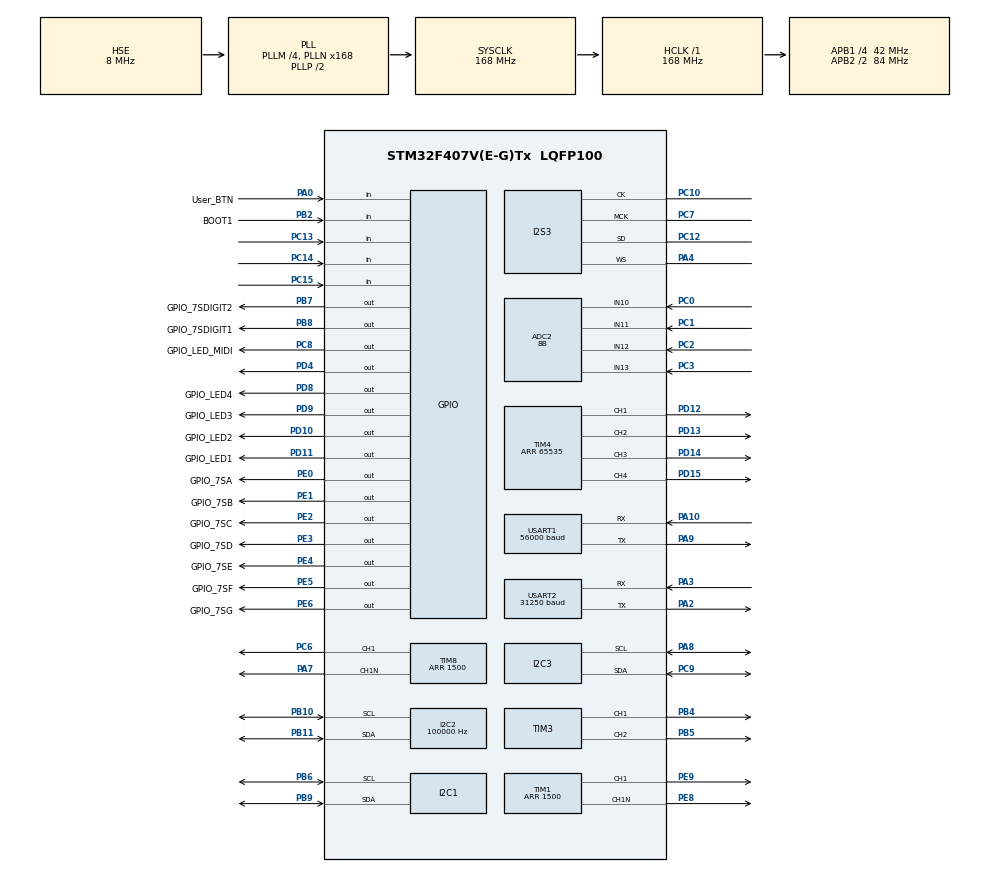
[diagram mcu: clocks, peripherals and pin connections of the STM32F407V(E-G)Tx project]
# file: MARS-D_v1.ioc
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ADC2.Channel-43\#ChannelRegularConversion=ADC_CHANNEL_10
ADC2.Channel-44\#ChannelInjectedConversion=ADC_CHANNEL_10
ADC2.Channel-45\#ChannelInjectedConversion=ADC_CHANNEL_11
ADC2.Channel-46\#ChannelInjectedConversion=ADC_CHANNEL_12
ADC2.Channel-47\#ChannelInjectedConversion=ADC_CHANNEL_13
ADC2.Channel-48\#ChannelRegularConversion=ADC_CHANNEL_11
ADC2.Channel-49\#ChannelRegularConversion=ADC_CHANNEL_12
ADC2.Channel-50\#ChannelRegularConversion=ADC_CHANNEL_13
ADC2.ClockPrescaler=ADC_CLOCK_SYNC_PCLK_DIV8
ADC2.ContinuousConvMode=ENABLE
ADC2.DMAContinuousRequests=DISABLE
ADC2.DataAlign=ADC_DATAALIGN_RIGHT
ADC2.DiscontinuousConvMode=DISABLE
ADC2.EOCSelection=ADC_EOC_SINGLE_CONV
ADC2.EnableAnalogWatchDog=false
ADC2.ExternalTrigConv=ADC_SOFTWARE_START
ADC2.ExternalTrigConvEdge=ADC_EXTERNALTRIGCONVEDGE_NONE
ADC2.ExternalTrigInjecConv=ADC_INJECTED_SOFTWARE_START
ADC2.ExternalTrigInjecConvEdge=ADC_EXTERNALTRIGINJECCONVEDGE_NONE
ADC2.InjNumberOfConversion=4
ADC2.InjectedConvMode=None
ADC2.InjectedOffset-44\#ChannelInjectedConversion=0
ADC2.InjectedOffset-45\#ChannelInjectedConversion=0
ADC2.InjectedOffset-46\#ChannelInjectedConversion=0
ADC2.InjectedOffset-47\#ChannelInjectedConversion=0
ADC2.NbrOfConversion=4
ADC2.NbrOfConversionFlag=1
ADC2.Rank-43\#ChannelRegularConversion=1
ADC2.Rank-44\#ChannelInjectedConversion=1
ADC2.Rank-45\#ChannelInjectedConversion=2
ADC2.Rank-46\#ChannelInjectedConversion=3
ADC2.Rank-47\#ChannelInjectedConversion=4
ADC2.Rank-48\#ChannelRegularConversion=2
ADC2.Rank-49\#ChannelRegularConversion=3
ADC2.Rank-50\#ChannelRegularConversion=4
ADC2.Resolution=ADC_RESOLUTION_8B
ADC2.SamplingTime-43\#ChannelRegularConversion=ADC_SAMPLETIME_480CYCLES
ADC2.SamplingTime-44\#ChannelInjectedConversion=ADC_SAMPLETIME_480CYCLES
ADC2.SamplingTime-45\#ChannelInjectedConversion=ADC_SAMPLETIME_480CYCLES
ADC2.SamplingTime-46\#ChannelInjectedConversion=ADC_SAMPLETIME_480CYCLES
ADC2.SamplingTime-47\#ChannelInjectedConversion=ADC_SAMPLETIME_480CYCLES
ADC2.SamplingTime-48\#ChannelRegularConversion=ADC_SAMPLETIME_480CYCLES
ADC2.SamplingTime-49\#ChannelRegularConversion=ADC_SAMPLETIME_480CYCLES
ADC2.SamplingTime-50\#ChannelRegularConversion=ADC_SAMPLETIME_480CYCLES
ADC2.ScanConvMode=ENABLE
Dma.Request0=USART2_RX
Dma.Request1=USART2_TX
Dma.Request2=SPI3_TX
Dma.Request3=USART1_RX
Dma.Request4=USART1_TX
Dma.SPI3_TX.2.Direction=DMA_MEMORY_TO_PERIPH
Dma.SPI3_TX.2.FIFOMode=DMA_FIFOMODE_ENABLE
Dma.SPI3_TX.2.FIFOThreshold=DMA_FIFO_THRESHOLD_FULL
Dma.SPI3_TX.2.Instance=DMA1_Stream7
Dma.SPI3_TX.2.MemBurst=DMA_MBURST_INC8
Dma.SPI3_TX.2.MemDataAlignment=DMA_MDATAALIGN_HALFWORD
Dma.SPI3_TX.2.MemInc=DMA_MINC_ENABLE
Dma.SPI3_TX.2.Mode=DMA_CIRCULAR
Dma.SPI3_TX.2.PeriphBurst=DMA_PBURST_SINGLE
Dma.SPI3_TX.2.PeriphDataAlignment=DMA_PDATAALIGN_HALFWORD
Dma.SPI3_TX.2.PeriphInc=DMA_PINC_DISABLE
Dma.SPI3_TX.2.Priority=DMA_PRIORITY_HIGH
Dma.USART1_RX.3.Direction=DMA_PERIPH_TO_MEMORY
Dma.USART1_RX.3.FIFOMode=DMA_FIFOMODE_DISABLE
Dma.USART1_RX.3.Instance=DMA2_Stream2
Dma.USART1_RX.3.MemDataAlignment=DMA_MDATAALIGN_BYTE
Dma.USART1_RX.3.MemInc=DMA_MINC_ENABLE
Dma.USART1_RX.3.Mode=DMA_CIRCULAR
Dma.USART1_RX.3.PeriphDataAlignment=DMA_PDATAALIGN_BYTE
Dma.USART1_RX.3.PeriphInc=DMA_PINC_DISABLE
Dma.USART1_RX.3.Priority=DMA_PRIORITY_MEDIUM
Dma.USART1_TX.4.Direction=DMA_MEMORY_TO_PERIPH
Dma.USART1_TX.4.FIFOMode=DMA_FIFOMODE_DISABLE
Dma.USART1_TX.4.Instance=DMA2_Stream7
Dma.USART1_TX.4.MemDataAlignment=DMA_MDATAALIGN_BYTE
Dma.USART1_TX.4.MemInc=DMA_MINC_ENABLE
Dma.USART1_TX.4.Mode=DMA_NORMAL
Dma.USART1_TX.4.PeriphDataAlignment=DMA_PDATAALIGN_BYTE
Dma.USART1_TX.4.PeriphInc=DMA_PINC_DISABLE
Dma.USART1_TX.4.Priority=DMA_PRIORITY_MEDIUM
Dma.USART2_RX.0.Direction=DMA_PERIPH_TO_MEMORY
Dma.USART2_RX.0.FIFOMode=DMA_FIFOMODE_DISABLE
Dma.USART2_RX.0.Instance=DMA1_Stream5
Dma.USART2_RX.0.MemDataAlignment=DMA_MDATAALIGN_BYTE
Dma.USART2_RX.0.MemInc=DMA_MINC_ENABLE
Dma.USART2_RX.0.Mode=DMA_CIRCULAR
Dma.USART2_RX.0.PeriphDataAlignment=DMA_PDATAALIGN_BYTE
Dma.USART2_RX.0.PeriphInc=DMA_PINC_DISABLE
Dma.USART2_RX.0.Priority=DMA_PRIORITY_MEDIUM
Dma.USART2_TX.1.Direction=DMA_MEMORY_TO_PERIPH
Dma.USART2_TX.1.FIFOMode=DMA_FIFOMODE_DISABLE
Dma.USART2_TX.1.Instance=DMA1_Stream6
Dma.USART2_TX.1.MemDataAlignment=DMA_MDATAALIGN_BYTE
Dma.USART2_TX.1.MemInc=DMA_MINC_ENABLE
Dma.USART2_TX.1.Mode=DMA_NORMAL
Dma.USART2_TX.1.PeriphDataAlignment=DMA_PDATAALIGN_BYTE
Dma.USART2_TX.1.PeriphInc=DMA_PINC_DISABLE
Dma.USART2_TX.1.Priority=DMA_PRIORITY_MEDIUM
I2C2.ClockSpeed=100000
I2C2.I2C_Mode=I2C_Standard
I2C3.I2C_Mode=I2C_Fast
I2S3.AudioFreq=I2S_AUDIOFREQ_96K
I2S3.ErrorAudioFreq=-0.01 %
I2S3.RealAudioFreq=95.982 KHz
Mcu.Family=STM32F4
Mcu.Name=STM32F407V(E-G)Tx
Mcu.Package=LQFP100
NVIC.DMA1_Stream5_IRQn=true\:3\:0\:true\:false\:true
NVIC.DMA1_Stream6_IRQn=true\:5\:0\:true\:false\:true
NVIC.DMA1_Stream7_IRQn=true\:1\:0\:true\:false\:true
NVIC.DMA2_Stream2_IRQn=true\:4\:0\:true\:false\:true
NVIC.DMA2_Stream7_IRQn=true\:6\:0\:true\:false\:true
NVIC.I2C2_EV_IRQn=true\:0\:0\:false\:false\:true
NVIC.PriorityGroup=NVIC_PRIORITYGROUP_4
PA0-WKUP.GPIO_Label=User_BTN
PA0-WKUP.Signal=GPIO_Input
PA1.GPIO_PuPd=GPIO_PULLUP
PA1.Signal=S_TIM5_CH2
PA10.Mode=Asynchronous
PA10.Signal=USART1_RX
PA11.Signal=USB_OTG_FS_DM
PA12.Signal=USB_OTG_FS_DP
PA13.Mode=Serial_Wire
PA13.Signal=SYS_JTMS-SWDIO
PA14.Mode=Serial_Wire
PA14.Signal=SYS_JTCK-SWCLK
PA2.Mode=Asynchronous
PA2.Signal=USART2_TX
PA3.Mode=Asynchronous
PA3.Signal=USART2_RX
PA4.GPIO_Speed=GPIO_SPEED_FREQ_VERY_HIGH
PA4.Mode=Half_Duplex_Master
PA4.Signal=I2S3_WS
PA5.Signal=COMP_DAC2_group
PA7.GPIO_Speed=GPIO_SPEED_FREQ_VERY_HIGH
PA7.Mode=PWM Generation1 CH1 CH1N
PA7.Signal=TIM8_CH1N
PA8.Mode=I2C
PA8.Signal=I2C3_SCL
PA9.Mode=Asynchronous
PA9.Signal=USART1_TX
PB0.Signal=S_TIM3_CH3
PB1.Signal=S_TIM3_CH4
PB10.Mode=I2C
PB10.Signal=I2C2_SCL
PB11.Mode=I2C
PB11.Signal=I2C2_SDA
PB13.Signal=SPI2_SCK
PB14.Signal=SPI2_MISO
PB15.Signal=SPI2_MOSI
PB2.GPIO_Label=BOOT1
PB2.Signal=GPIO_Input
PB4.GPIO_Speed=GPIO_SPEED_FREQ_LOW
PB4.Signal=S_TIM3_CH1
PB5.GPIO_Speed=GPIO_SPEED_FREQ_LOW
PB5.Signal=S_TIM3_CH2
PB6.Mode=I2C
PB6.Signal=I2C1_SCL
PB7.GPIO_Label=GPIO_7SDIGIT2
PB7.GPIO_Speed=GPIO_SPEED_FREQ_MEDIUM
PB7.PinState=GPIO_PIN_RESET
PB7.Signal=GPIO_Output
PB8.GPIO_Label=GPIO_7SDIGIT1
PB8.GPIO_Speed=GPIO_SPEED_FREQ_MEDIUM
PB8.PinState=GPIO_PIN_RESET
PB8.Signal=GPIO_Output
PB9.Mode=I2C
PB9.Signal=I2C1_SDA
PC0.Signal=ADCx_IN10
PC1.Signal=ADCx_IN11
PC10.GPIO_Speed=GPIO_SPEED_FREQ_VERY_HIGH
PC10.Mode=Half_Duplex_Master
PC10.Signal=I2S3_CK
PC12.GPIO_Speed=GPIO_SPEED_FREQ_VERY_HIGH
PC12.Mode=Half_Duplex_Master
PC12.Signal=I2S3_SD
PC13-ANTI_TAMP.GPIO_PuPd=GPIO_PULLUP
PC13-ANTI_TAMP.Signal=GPIO_Input
PC14-OSC32_IN.GPIO_PuPd=GPIO_PULLUP
PC14-OSC32_IN.Signal=GPIO_Input
PC15-OSC32_OUT.GPIO_PuPd=GPIO_PULLUP
PC15-OSC32_OUT.Signal=GPIO_Input
PC2.Signal=ADCx_IN12
PC3.Signal=ADCx_IN13
PC6.GPIO_Speed=GPIO_SPEED_FREQ_VERY_HIGH
PC6.Signal=S_TIM8_CH1
PC7.GPIO_Speed=GPIO_SPEED_FREQ_VERY_HIGH
PC7.Mode=Master_Clock_Activated
PC7.Signal=I2S3_MCK
PC8.GPIO_Label=GPIO_LED_MIDI
PC8.Signal=GPIO_Output
PC9.Mode=I2C
PC9.Signal=I2C3_SDA
PD10.GPIO_Label=GPIO_LED2
PD10.Signal=GPIO_Output
PD11.GPIO_Label=GPIO_LED1
PD11.Signal=GPIO_Output
PD12.GPIO_Speed=GPIO_SPEED_FREQ_HIGH
PD12.Signal=S_TIM4_CH1
PD13.GPIO_Speed=GPIO_SPEED_FREQ_HIGH
PD13.Signal=S_TIM4_CH2
PD14.GPIO_Speed=GPIO_SPEED_FREQ_HIGH
PD14.Signal=S_TIM4_CH3
PD15.GPIO_Speed=GPIO_SPEED_FREQ_HIGH
PD15.Signal=S_TIM4_CH4
PD4.GPIO_Speed=GPIO_SPEED_FREQ_MEDIUM
PD4.Signal=GPIO_Output
PD8.GPIO_Label=GPIO_LED4
PD8.Signal=GPIO_Output
PD9.GPIO_Label=GPIO_LED3
PD9.Signal=GPIO_Output
PE0.GPIO_Label=GPIO_7SA
PE0.GPIO_Speed=GPIO_SPEED_FREQ_MEDIUM
PE0.PinState=GPIO_PIN_RESET
PE0.Signal=GPIO_Output
PE1.GPIO_Label=GPIO_7SB
PE1.GPIO_Speed=GPIO_SPEED_FREQ_MEDIUM
PE1.PinState=GPIO_PIN_RESET
PE1.Signal=GPIO_Output
PE2.GPIO_Label=GPIO_7SC
PE2.GPIO_Speed=GPIO_SPEED_FREQ_MEDIUM
PE2.PinState=GPIO_PIN_RESET
PE2.Signal=GPIO_Output
PE3.GPIO_Label=GPIO_7SD
PE3.GPIO_Speed=GPIO_SPEED_FREQ_MEDIUM
PE3.PinState=GPIO_PIN_RESET
PE3.Signal=GPIO_Output
PE4.GPIO_Label=GPIO_7SE
PE4.GPIO_Speed=GPIO_SPEED_FREQ_MEDIUM
PE4.PinState=GPIO_PIN_RESET
PE4.Signal=GPIO_Output
PE5.GPIO_Label=GPIO_7SF
PE5.GPIO_Speed=GPIO_SPEED_FREQ_MEDIUM
PE5.PinState=GPIO_PIN_RESET
PE5.Signal=GPIO_Output
PE6.GPIO_Label=GPIO_7SG
PE6.GPIO_Speed=GPIO_SPEED_FREQ_MEDIUM
PE6.PinState=GPIO_PIN_RESET
PE6.Signal=GPIO_Output
PE8.GPIO_Speed=GPIO_SPEED_FREQ_VERY_HIGH
PE8.Mode=PWM Generation1 CH1 CH1N
PE8.Signal=TIM1_CH1N
PE9.GPIO_Speed=GPIO_SPEED_FREQ_VERY_HIGH
PE9.Signal=S_TIM1_CH1
PH0-OSC_IN.Mode=HSE-External-Oscillator
PH0-OSC_IN.Signal=RCC_OSC_IN
PH1-OSC_OUT.Mode=HSE-External-Oscillator
PH1-OSC_OUT.Signal=RCC_OSC_OUT
ProjectManager.HeapSize=0x200
ProjectManager.StackSize=0x400
ProjectManager.TargetToolchain=EWARM
RCC.48MHZClocksFreq_Value=48000000
RCC.AHBFreq_Value=168000000
RCC.APB1CLKDivider=RCC_HCLK_DIV4
RCC.APB1Freq_Value=42000000
RCC.APB1TimFreq_Value=84000000
RCC.APB2CLKDivider=RCC_HCLK_DIV2
RCC.APB2Freq_Value=84000000
RCC.APB2TimFreq_Value=168000000
RCC.CortexFreq_Value=168000000
RCC.HCLKFreq_Value=168000000
RCC.HSE_VALUE=8000000
RCC.HSI_VALUE=16000000
RCC.LSE_VALUE=32768
RCC.PLLI2SN=172
RCC.PLLM=4
RCC.PLLN=168
RCC.PLLQ=7
RCC.PLLSourceVirtual=RCC_PLLSOURCE_HSE
RCC.SYSCLKFreq_VALUE=168000000
RCC.SYSCLKSource=RCC_SYSCLKSOURCE_PLLCLK
RCC.VCOOutputFreq_Value=336000000
SH.ADCx_IN10.0=ADC2_IN10,IN10
SH.ADCx_IN11.0=ADC2_IN11,IN11
SH.ADCx_IN12.0=ADC2_IN12,IN12
SH.ADCx_IN13.0=ADC2_IN13,IN13
SH.COMP_DAC2_group.0=DAC_OUT2
SH.S_TIM1_CH1.0=TIM1_CH1,PWM Generation1 CH1 CH1N
SH.S_TIM3_CH1.0=TIM3_CH1,PWM Generation1 CH1
SH.S_TIM3_CH2.0=TIM3_CH2,PWM Generation2 CH2
SH.S_TIM3_CH3.0=TIM3_CH3
SH.S_TIM3_CH4.0=TIM3_CH4
SH.S_TIM4_CH1.0=TIM4_CH1,PWM Generation1 CH1
SH.S_TIM4_CH2.0=TIM4_CH2,PWM Generation2 CH2
SH.S_TIM4_CH3.0=TIM4_CH3,PWM Generation3 CH3
SH.S_TIM4_CH4.0=TIM4_CH4,PWM Generation4 CH4
SH.S_TIM5_CH2.0=TIM5_CH2
SH.S_TIM8_CH1.0=TIM8_CH1,PWM Generation1 CH1 CH1N
TIM1.AutomaticOutput=TIM_AUTOMATICOUTPUT_ENABLE
TIM1.BreakState=TIM_BREAK_ENABLE
TIM1.CounterMode=TIM_COUNTERMODE_UP
TIM1.DeadTime=16
TIM1.OCNPolarity_1=TIM_OCNPOLARITY_LOW
TIM1.OCPolarity_1=TIM_OCPOLARITY_LOW
TIM1.OffStateRunMode=TIM_OSSR_DISABLE
TIM1.Period=1500
TIM14.Period=65535
TIM14.Prescaler=83
TIM3.Channel-PWM\ Generation2\ CH2=TIM_CHANNEL_2
TIM4.Channel-PWM\ Generation2\ CH2=TIM_CHANNEL_2
TIM4.Channel-PWM\ Generation3\ CH3=TIM_CHANNEL_3
TIM4.Channel-PWM\ Generation4\ CH4=TIM_CHANNEL_4
TIM4.Period=65535
TIM8.AutomaticOutput=TIM_AUTOMATICOUTPUT_ENABLE
TIM8.BreakState=TIM_BREAK_ENABLE
TIM8.CounterMode=TIM_COUNTERMODE_UP
TIM8.DeadTime=16
TIM8.OCNPolarity_1=TIM_OCNPOLARITY_LOW
TIM8.OCPolarity_1=TIM_OCPOLARITY_LOW
TIM8.Period=1500
USART1.BaudRate=56000
USART2.BaudRate=31250
VP_RNG_VS_RNG.Mode=RNG_Activate
VP_TIM14_VS_ClockSourceINT.Mode=Enable_Timer
board=MARS-D_v1

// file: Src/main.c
/**
  ******************************************************************************
  * File Name          : main.c
  * Description        : Main program body
  ******************************************************************************
  *
  * COPYRIGHT(c) 2018 STMicroelectronics
  *
  * Redistribution and use in source and binary forms, with or without modification,
  * are permitted provided that the following conditions are met:
  *   1. Redistributions of source code must retain the above copyright notice,
  *      this list of conditions and the following disclaimer.
  *   2. Redistributions in binary form must reproduce the above copyright notice,
  *      this list of conditions and the following disclaimer in the documentation
  *      and/or other materials provided with the distribution.
  *   3. Neither the name of STMicroelectronics nor the names of its contributors
  *      may be used to endorse or promote products derived from this software
  *      without specific prior written permission.
  *
  * THIS SOFTWARE IS PROVIDED BY THE COPYRIGHT HOLDERS AND CONTRIBUTORS "AS IS"
  * AND ANY EXPRESS OR IMPLIED WARRANTIES, INCLUDING, BUT NOT LIMITED TO, THE
  * IMPLIED WARRANTIES OF MERCHANTABILITY AND FITNESS FOR A PARTICULAR PURPOSE ARE
  * DISCLAIMED. IN NO EVENT SHALL THE COPYRIGHT HOLDER OR CONTRIBUTORS BE LIABLE
  * FOR ANY DIRECT, INDIRECT, INCIDENTAL, SPECIAL, EXEMPLARY, OR CONSEQUENTIAL
  * DAMAGES (INCLUDING, BUT NOT LIMITED TO, PROCUREMENT OF SUBSTITUTE GOODS OR
  * SERVICES; LOSS OF USE, DATA, OR PROFITS; OR BUSINESS INTERRUPTION) HOWEVER
  * CAUSED AND ON ANY THEORY OF LIABILITY, WHETHER IN CONTRACT, STRICT LIABILITY,
  * OR TORT (INCLUDING NEGLIGENCE OR OTHERWISE) ARISING IN ANY WAY OUT OF THE USE
  * OF THIS SOFTWARE, EVEN IF ADVISED OF THE POSSIBILITY OF SUCH DAMAGE.
  *
  ******************************************************************************
  */
#include "main.h"
#include "stm32f4xx_hal.h"

/* USER CODE BEGIN Includes */

#include "usb_device.h"
#include "usbd_midi.h"
#include "usbd_midi_if.h"

#include "CS43L22.h"
#include "display.h"
//#include "menu.h"
#include "midi.h"
#include "dco.h"
#include "engine.h"
#include "presetmngr.h"

#define I2S3    SPI3

#define MIDIBUFSIZE 2048 //must be power of 2
#define MIDIBUFMASK (MIDIBUFSIZE - 1)

#define INDICATE_PERIOD 10

/* USER CODE END Includes */

ADC_HandleTypeDef hadc2;

I2C_HandleTypeDef hi2c1;
I2C_HandleTypeDef hi2c2;
I2C_HandleTypeDef hi2c3;

I2S_HandleTypeDef hi2s3;
DMA_HandleTypeDef hdma_spi3_tx;

RNG_HandleTypeDef hrng;

TIM_HandleTypeDef htim1;
TIM_HandleTypeDef htim3;
TIM_HandleTypeDef htim4;
TIM_HandleTypeDef htim8;
TIM_HandleTypeDef htim14;

UART_HandleTypeDef huart1;
UART_HandleTypeDef huart2;
DMA_HandleTypeDef hdma_usart1_rx;
DMA_HandleTypeDef hdma_usart1_tx;
DMA_HandleTypeDef hdma_usart2_rx;
DMA_HandleTypeDef hdma_usart2_tx;

/* USER CODE BEGIN PV */
/* Private variables ---------------------------------------------------------*/

  struct
  {
    uint16_t curidx;
    uint16_t rdidx;
    uint8_t buf[MIDIBUFSIZE];
  } midibuf;

  tMidiStore midiuart, midiusb1, midiusb2;

  //uint8_t oldgate = 0;
  //uint8_t i = 0;

  uint16_t tick;
  uint32_t newtick;
  uint32_t lasttick = 0;

  uint8_t btnstate = 0;
  uint8_t newbtnstate = 0;

  //volatile uint8_t adcdata[4];
  //uint8_t msg[2];

/* USER CODE END PV */

void SystemClock_Config(void);
void Error_Handler(void);
static void MX_GPIO_Init(void);
static void MX_DMA_Init(void);
static void MX_I2C1_Init(void);
static void MX_I2S3_Init(void);
static void MX_USART2_UART_Init(void);
static void MX_RNG_Init(void);
static void MX_I2C3_Init(void);
static void MX_TIM14_Init(void);
static void MX_TIM1_Init(void);
static void MX_TIM3_Init(void);
static void MX_TIM8_Init(void);
static void MX_TIM4_Init(void);
static void MX_USART1_UART_Init(void);
static void MX_ADC2_Init(void);
static void MX_I2C2_Init(void);

void HAL_TIM_MspPostInit(TIM_HandleTypeDef *htim);

/* USER CODE BEGIN PFP */
/* Private function prototypes -----------------------------------------------*/

/* USER CODE END PFP */

int main(void)
{

  /* MCU Configuration----------------------------------------------------------*/

  /* Reset of all peripherals, Initializes the Flash interface and the Systick. */
  HAL_Init();

  /* Configure the system clock */
  SystemClock_Config();

  /* Initialize all configured peripherals */
  MX_GPIO_Init();
  MX_DMA_Init();
  MX_I2C1_Init();
  MX_I2S3_Init();
  MX_USART2_UART_Init();
  MX_RNG_Init();
  MX_I2C3_Init();
  MX_TIM14_Init();
  MX_TIM1_Init();
  MX_TIM3_Init();
  MX_TIM8_Init();
  MX_TIM4_Init();
  MX_USART1_UART_Init();
  MX_ADC2_Init();
  MX_I2C2_Init();

  /* USER CODE BEGIN 2 */

  MX_USB_DEVICE_Init();

  // разрешаем прерываниe USART Data Register not empty Interrupts
  //SET_BIT((&huart2)->Instance->CR1, USART_CR1_RXNEIE);

  //указываем DMA откуда загружать данный в ЦАП по аудио шине I2S
  HAL_I2S_Transmit_DMA(&hi2s3, (uint16_t*)&aubuf[0], AUBUFSIZE);

  //выключаем прерывания DMA UART, хз как заставить тупой куб не включать их по умолчанию
  HAL_NVIC_DisableIRQ(DMA1_Stream5_IRQn); //UART 2 RX (DMA1_Stream6 TX)
  HAL_NVIC_DisableIRQ(DMA2_Stream2_IRQn); //UART 1 RX (DMA2_Stream7 TX)
  //назначить UART2 кольцевой буффер
  HAL_UART_Receive_DMA(&huart2, (uint8_t *)&midibuf.buf[0], MIDIBUFSIZE);

  //запускаймер таймер для синхронизации миди клока (1мгц)
  HAL_TIM_Base_Start(&htim14);
  midi_Sync_Init(&htim14);

  //запускаем ШИМ светодиодов индикации модуляторов
  //HAL_TIM_PWM_Start(&htim4, TIM_CHANNEL_ALL);
  HAL_TIM_PWM_Start(&htim4, TIM_CHANNEL_1);
  HAL_TIM_PWM_Start(&htim4, TIM_CHANNEL_2);
  HAL_TIM_PWM_Start(&htim4, TIM_CHANNEL_3);
  HAL_TIM_PWM_Start(&htim4, TIM_CHANNEL_4);

  //HAL_TIM_PWM_Start(&htim1, TIM_CHANNEL_1);
  //HAL_TIMEx_PWMN_Start(&htim1, TIM_CHANNEL_1);
  //HAL_TIM_PWM_Start(&htim8, TIM_CHANNEL_1);
  //HAL_TIMEx_PWMN_Start(&htim8, TIM_CHANNEL_1);
  //TIM1->CR1 |= TIM_CR1_ARPE;
  //TIM8->CR1 |= TIM_CR1_ARPE;

  //запускаем энкодер
  //HAL_TIM_Encoder_Start(&htim5, TIM_CHANNEL_1);

  //запускаем ЦАП для управоения срезом аналоговых фильтров по CV
  //HAL_DAC_Start(&hdac, DAC_CHANNEL_1);
  //HAL_DAC_Start(&hdac, DAC_CHANNEL_2);

  //инициализируем звуковой движок (частота дискретизации, частота строя)
  Engine_Init(hi2s3.Init.AudioFreq, 440, &hrng);

  //инициализируем аудио кодек
  cs43l22_Init(OUTPUT_DEVICE_HEADPHONE, 80); //70
  cs43l22_Play();

  //инициализируем общие значения и считываем 0-й пресет
  //PM_Init(&hi2c3);

  //инициализация меню
  //Menu_Init();

  //запускаем АЦП
  //HAL_ADCEx_InjectedStart(&hadc2);

  /* USER CODE END 2 */

  /* Infinite loop */
  /* USER CODE BEGIN WHILE */
  while (1)
  {

    //get MIDI from UART
    midibuf.curidx = MIDIBUFSIZE - (&hdma_usart2_rx)->Instance->NDTR;
    if (midibuf.rdidx != midibuf.curidx)
      midi_Parse(&midiuart, &midibuf.buf[0], &midibuf.rdidx, &midibuf.curidx, MIDIBUFMASK);

    //get MIDI from USB-MIDI Cable 1
    if (usbmidicable1.rdidx != usbmidicable1.curidx)
      midi_Parse(&midiusb1, &usbmidicable1.buf[0], &usbmidicable1.rdidx, &usbmidicable1.curidx, USBMIDIMASK);

    //get MIDI from USB-MIDI Cable 2
    if (usbmidicable2.rdidx != usbmidicable2.curidx)
      midi_Parse(&midiusb2, &usbmidicable2.buf[0], &usbmidicable2.rdidx, &usbmidicable2.curidx, USBMIDIMASK);

    //если есть данные в буфере USB передаем следующий пакет (64 байта)
    if (USB_Tx_State == USB_TX_CONTINUE)
      USBD_MIDI_SendPacket();

    //выводим индикацию ~50 Гц
    newtick = HAL_GetTick();
    tick = newtick - lasttick;
    if (tick >= INDICATE_PERIOD) //проверяем период индикации
    {
      lasttick = newtick;

      //Display_Refrash(); //обновляем дисплей

      //HAL_GPIO_WritePin(GPIOD, GPIO_LED1_Pin, (GPIO_PinState)gate[0]);
      //HAL_GPIO_WritePin(GPIOD, GPIO_LED2_Pin, (GPIO_PinState)gate[1]);
      //HAL_GPIO_WritePin(GPIOD, GPIO_LED3_Pin, (GPIO_PinState)gate[2]);
      //HAL_GPIO_WritePin(GPIOD, GPIO_LED4_Pin, (GPIO_PinState)gate[3]);

      //обновляем светодиоды огибающих и lfo
      TIM4->CCR3 = pmatrix->src.EG1 * 0xFFFF;
      TIM4->CCR4 = pmatrix->src.EG2 * 0xFFFF;
      TIM4->CCR1 = 0x7FFF + pmatrix->src.Vibrato * 0xFFFF;
      TIM4->CCR2 = pmatrix->src.LFO * 0xFFFF;

      //adcdata[0] = HAL_ADCEx_InjectedGetValue(&hadc2 ,ADC_INJECTED_RANK_1);
      //adcdata[1] = HAL_ADCEx_InjectedGetValue(&hadc2, ADC_INJECTED_RANK_2);
      //adcdata[2] = HAL_ADCEx_InjectedGetValue(&hadc2, ADC_INJECTED_RANK_3);
      //adcdata[3] = HAL_ADCEx_InjectedGetValue(&hadc2, ADC_INJECTED_RANK_4);
      //HAL_ADCEx_InjectedStart(&hadc2);

      newbtnstate = (uint8_t)HAL_GPIO_ReadPin( GPIOA, GPIO_PIN_0 );
      if (newbtnstate != btnstate)
      {
        btnstate = newbtnstate;
        if (btnstate)
        {
          //TIM4->CCR4 = 0xFFFF;
        }
      }

      //Menu_Update();
    }

  /* USER CODE END WHILE */

  }

}

/** System Clock Configuration
*/
void SystemClock_Config(void)
{

  RCC_OscInitTypeDef RCC_OscInitStruct;
  RCC_ClkInitTypeDef RCC_ClkInitStruct;
  RCC_PeriphCLKInitTypeDef PeriphClkInitStruct;

    /**Configure the main internal regulator output voltage
    */
  __HAL_RCC_PWR_CLK_ENABLE();

  __HAL_PWR_VOLTAGESCALING_CONFIG(PWR_REGULATOR_VOLTAGE_SCALE1);

    /**Initializes the CPU, AHB and APB busses clocks
    */
  RCC_OscInitStruct.OscillatorType = RCC_OSCILLATORTYPE_HSE;
  RCC_OscInitStruct.HSEState = RCC_HSE_ON;
  RCC_OscInitStruct.PLL.PLLState = RCC_PLL_ON;
  RCC_OscInitStruct.PLL.PLLSource = RCC_PLLSOURCE_HSE;
  RCC_OscInitStruct.PLL.PLLM = 4;
  RCC_OscInitStruct.PLL.PLLN = 168;
  RCC_OscInitStruct.PLL.PLLP = RCC_PLLP_DIV2;
  RCC_OscInitStruct.PLL.PLLQ = 7;
  if (HAL_RCC_OscConfig(&RCC_OscInitStruct) != HAL_OK)
  {
    Error_Handler();
  }

    /**Initializes the CPU, AHB and APB busses clocks
    */
  RCC_ClkInitStruct.ClockType = RCC_CLOCKTYPE_HCLK|RCC_CLOCKTYPE_SYSCLK
                              |RCC_CLOCKTYPE_PCLK1|RCC_CLOCKTYPE_PCLK2;
  RCC_ClkInitStruct.SYSCLKSource = RCC_SYSCLKSOURCE_PLLCLK;
  RCC_ClkInitStruct.AHBCLKDivider = RCC_SYSCLK_DIV1;
  RCC_ClkInitStruct.APB1CLKDivider = RCC_HCLK_DIV4;
  RCC_ClkInitStruct.APB2CLKDivider = RCC_HCLK_DIV2;

  if (HAL_RCC_ClockConfig(&RCC_ClkInitStruct, FLASH_LATENCY_5) != HAL_OK)
  {
    Error_Handler();
  }

  PeriphClkInitStruct.PeriphClockSelection = RCC_PERIPHCLK_I2S;
  PeriphClkInitStruct.PLLI2S.PLLI2SN = 172;
  PeriphClkInitStruct.PLLI2S.PLLI2SR = 2;
  if (HAL_RCCEx_PeriphCLKConfig(&PeriphClkInitStruct) != HAL_OK)
  {
    Error_Handler();
  }

    /**Configure the Systick interrupt time
    */
  HAL_SYSTICK_Config(HAL_RCC_GetHCLKFreq()/1000);

    /**Configure the Systick
    */
  HAL_SYSTICK_CLKSourceConfig(SYSTICK_CLKSOURCE_HCLK);

  /* SysTick_IRQn interrupt configuration */
  HAL_NVIC_SetPriority(SysTick_IRQn, 0, 0);
}

/* ADC2 init function */
static void MX_ADC2_Init(void)
{

  ADC_ChannelConfTypeDef sConfig;
  ADC_InjectionConfTypeDef sConfigInjected;

    /**Configure the global features of the ADC (Clock, Resolution, Data Alignment and number of conversion)
    */
  hadc2.Instance = ADC2;
  hadc2.Init.ClockPrescaler = ADC_CLOCK_SYNC_PCLK_DIV8;
  hadc2.Init.Resolution = ADC_RESOLUTION_8B;
  hadc2.Init.ScanConvMode = ENABLE;
  hadc2.Init.ContinuousConvMode = ENABLE;
  hadc2.Init.DiscontinuousConvMode = DISABLE;
  hadc2.Init.ExternalTrigConvEdge = ADC_EXTERNALTRIGCONVEDGE_NONE;
  hadc2.Init.ExternalTrigConv = ADC_SOFTWARE_START;
  hadc2.Init.DataAlign = ADC_DATAALIGN_RIGHT;
  hadc2.Init.NbrOfConversion = 4;
  hadc2.Init.DMAContinuousRequests = DISABLE;
  hadc2.Init.EOCSelection = ADC_EOC_SINGLE_CONV;
  if (HAL_ADC_Init(&hadc2) != HAL_OK)
  {
    Error_Handler();
  }

    /**Configure for the selected ADC regular channel its corresponding rank in the sequencer and its sample time.
    */
  sConfig.Channel = ADC_CHANNEL_10;
  sConfig.Rank = 1;
  sConfig.SamplingTime = ADC_SAMPLETIME_480CYCLES;
  if (HAL_ADC_ConfigChannel(&hadc2, &sConfig) != HAL_OK)
  {
    Error_Handler();
  }

    /**Configure for the selected ADC regular channel its corresponding rank in the sequencer and its sample time.
    */
  sConfig.Channel = ADC_CHANNEL_11;
  sConfig.Rank = 2;
  if (HAL_ADC_ConfigChannel(&hadc2, &sConfig) != HAL_OK)
  {
    Error_Handler();
  }

    /**Configure for the selected ADC regular channel its corresponding rank in the sequencer and its sample time.
    */
  sConfig.Channel = ADC_CHANNEL_12;
  sConfig.Rank = 3;
  if (HAL_ADC_ConfigChannel(&hadc2, &sConfig) != HAL_OK)
  {
    Error_Handler();
  }

    /**Configure for the selected ADC regular channel its corresponding rank in the sequencer and its sample time.
    */
  sConfig.Channel = ADC_CHANNEL_13;
  sConfig.Rank = 4;
  if (HAL_ADC_ConfigChannel(&hadc2, &sConfig) != HAL_OK)
  {
    Error_Handler();
  }

    /**Configures for the selected ADC injected channel its corresponding rank in the sequencer and its sample time
    */
  sConfigInjected.InjectedChannel = ADC_CHANNEL_10;
  sConfigInjected.InjectedRank = 1;
  sConfigInjected.InjectedNbrOfConversion = 4;
  sConfigInjected.InjectedSamplingTime = ADC_SAMPLETIME_480CYCLES;
  sConfigInjected.ExternalTrigInjecConvEdge = ADC_EXTERNALTRIGINJECCONVEDGE_NONE;
  sConfigInjected.ExternalTrigInjecConv = ADC_INJECTED_SOFTWARE_START;
  sConfigInjected.AutoInjectedConv = DISABLE;
  sConfigInjected.InjectedDiscontinuousConvMode = DISABLE;
  sConfigInjected.InjectedOffset = 0;
  if (HAL_ADCEx_InjectedConfigChannel(&hadc2, &sConfigInjected) != HAL_OK)
  {
    Error_Handler();
  }

    /**Configures for the selected ADC injected channel its corresponding rank in the sequencer and its sample time
    */
  sConfigInjected.InjectedChannel = ADC_CHANNEL_11;
  sConfigInjected.InjectedRank = 2;
  if (HAL_ADCEx_InjectedConfigChannel(&hadc2, &sConfigInjected) != HAL_OK)
  {
    Error_Handler();
  }

    /**Configures for the selected ADC injected channel its corresponding rank in the sequencer and its sample time
    */
  sConfigInjected.InjectedChannel = ADC_CHANNEL_12;
  sConfigInjected.InjectedRank = 3;
  if (HAL_ADCEx_InjectedConfigChannel(&hadc2, &sConfigInjected) != HAL_OK)
  {
    Error_Handler();
  }

    /**Configures for the selected ADC injected channel its corresponding rank in the sequencer and its sample time
    */
  sConfigInjected.InjectedChannel = ADC_CHANNEL_13;
  sConfigInjected.InjectedRank = 4;
  if (HAL_ADCEx_InjectedConfigChannel(&hadc2, &sConfigInjected) != HAL_OK)
  {
    Error_Handler();
  }

}

/* I2C1 init function */
static void MX_I2C1_Init(void)
{

  hi2c1.Instance = I2C1;
  hi2c1.Init.ClockSpeed = 100000;
  hi2c1.Init.DutyCycle = I2C_DUTYCYCLE_2;
  hi2c1.Init.OwnAddress1 = 0;
  hi2c1.Init.AddressingMode = I2C_ADDRESSINGMODE_7BIT;
  hi2c1.Init.DualAddressMode = I2C_DUALADDRESS_DISABLE;
  hi2c1.Init.OwnAddress2 = 0;
  hi2c1.Init.GeneralCallMode = I2C_GENERALCALL_DISABLE;
  hi2c1.Init.NoStretchMode = I2C_NOSTRETCH_DISABLE;
  if (HAL_I2C_Init(&hi2c1) != HAL_OK)
  {
    Error_Handler();
  }

}

/* I2C2 init function */
static void MX_I2C2_Init(void)
{

  hi2c2.Instance = I2C2;
  hi2c2.Init.ClockSpeed = 100000;
  hi2c2.Init.DutyCycle = I2C_DUTYCYCLE_2;
  hi2c2.Init.OwnAddress1 = 0;
  hi2c2.Init.AddressingMode = I2C_ADDRESSINGMODE_7BIT;
  hi2c2.Init.DualAddressMode = I2C_DUALADDRESS_DISABLE;
  hi2c2.Init.OwnAddress2 = 0;
  hi2c2.Init.GeneralCallMode = I2C_GENERALCALL_DISABLE;
  hi2c2.Init.NoStretchMode = I2C_NOSTRETCH_DISABLE;
  if (HAL_I2C_Init(&hi2c2) != HAL_OK)
  {
    Error_Handler();
  }

}

/* I2C3 init function */
static void MX_I2C3_Init(void)
{

  hi2c3.Instance = I2C3;
  hi2c3.Init.ClockSpeed = 400000;
  hi2c3.Init.DutyCycle = I2C_DUTYCYCLE_2;
  hi2c3.Init.OwnAddress1 = 0;
  hi2c3.Init.AddressingMode = I2C_ADDRESSINGMODE_7BIT;
  hi2c3.Init.DualAddressMode = I2C_DUALADDRESS_DISABLE;
  hi2c3.Init.OwnAddress2 = 0;
  hi2c3.Init.GeneralCallMode = I2C_GENERALCALL_DISABLE;
  hi2c3.Init.NoStretchMode = I2C_NOSTRETCH_DISABLE;
  if (HAL_I2C_Init(&hi2c3) != HAL_OK)
  {
    Error_Handler();
  }

}

/* I2S3 init function */
static void MX_I2S3_Init(void)
{

  hi2s3.Instance = SPI3;
  hi2s3.Init.Mode = I2S_MODE_MASTER_TX;
  hi2s3.Init.Standard = I2S_STANDARD_PHILIPS;
  hi2s3.Init.DataFormat = I2S_DATAFORMAT_16B;
  hi2s3.Init.MCLKOutput = I2S_MCLKOUTPUT_ENABLE;
  hi2s3.Init.AudioFreq = I2S_AUDIOFREQ_96K;
  hi2s3.Init.CPOL = I2S_CPOL_LOW;
  hi2s3.Init.ClockSource = I2S_CLOCK_PLL;
  hi2s3.Init.FullDuplexMode = I2S_FULLDUPLEXMODE_DISABLE;
  if (HAL_I2S_Init(&hi2s3) != HAL_OK)
  {
    Error_Handler();
  }

}

/* RNG init function */
static void MX_RNG_Init(void)
{

  hrng.Instance = RNG;
  if (HAL_RNG_Init(&hrng) != HAL_OK)
  {
    Error_Handler();
  }

}

/* TIM1 init function */
static void MX_TIM1_Init(void)
{

  TIM_MasterConfigTypeDef sMasterConfig;
  TIM_OC_InitTypeDef sConfigOC;
  TIM_BreakDeadTimeConfigTypeDef sBreakDeadTimeConfig;

  htim1.Instance = TIM1;
  htim1.Init.Prescaler = 0;
  htim1.Init.CounterMode = TIM_COUNTERMODE_UP;
  htim1.Init.Period = 1500;
  htim1.Init.ClockDivision = TIM_CLOCKDIVISION_DIV1;
  htim1.Init.RepetitionCounter = 0;
  if (HAL_TIM_PWM_Init(&htim1) != HAL_OK)
  {
    Error_Handler();
  }

  sMasterConfig.MasterOutputTrigger = TIM_TRGO_RESET;
  sMasterConfig.MasterSlaveMode = TIM_MASTERSLAVEMODE_DISABLE;
  if (HAL_TIMEx_MasterConfigSynchronization(&htim1, &sMasterConfig) != HAL_OK)
  {
    Error_Handler();
  }

  sConfigOC.OCMode = TIM_OCMODE_PWM1;
  sConfigOC.Pulse = 0;
  sConfigOC.OCPolarity = TIM_OCPOLARITY_LOW;
  sConfigOC.OCNPolarity = TIM_OCNPOLARITY_LOW;
  sConfigOC.OCFastMode = TIM_OCFAST_DISABLE;
  sConfigOC.OCIdleState = TIM_OCIDLESTATE_RESET;
  sConfigOC.OCNIdleState = TIM_OCNIDLESTATE_RESET;
  if (HAL_TIM_PWM_ConfigChannel(&htim1, &sConfigOC, TIM_CHANNEL_1) != HAL_OK)
  {
    Error_Handler();
  }

  sBreakDeadTimeConfig.OffStateRunMode = TIM_OSSR_DISABLE;
  sBreakDeadTimeConfig.OffStateIDLEMode = TIM_OSSI_DISABLE;
  sBreakDeadTimeConfig.LockLevel = TIM_LOCKLEVEL_OFF;
  sBreakDeadTimeConfig.DeadTime = 16;
  sBreakDeadTimeConfig.BreakState = TIM_BREAK_ENABLE;
  sBreakDeadTimeConfig.BreakPolarity = TIM_BREAKPOLARITY_HIGH;
  sBreakDeadTimeConfig.AutomaticOutput = TIM_AUTOMATICOUTPUT_ENABLE;
  if (HAL_TIMEx_ConfigBreakDeadTime(&htim1, &sBreakDeadTimeConfig) != HAL_OK)
  {
    Error_Handler();
  }

  HAL_TIM_MspPostInit(&htim1);

}

/* TIM3 init function */
static void MX_TIM3_Init(void)
{

  TIM_MasterConfigTypeDef sMasterConfig;
  TIM_OC_InitTypeDef sConfigOC;

  htim3.Instance = TIM3;
  htim3.Init.Prescaler = 0;
  htim3.Init.CounterMode = TIM_COUNTERMODE_UP;
  htim3.Init.Period = 0;
  htim3.Init.ClockDivision = TIM_CLOCKDIVISION_DIV1;
  if (HAL_TIM_PWM_Init(&htim3) != HAL_OK)
  {
    Error_Handler();
  }

  sMasterConfig.MasterOutputTrigger = TIM_TRGO_RESET;
  sMasterConfig.MasterSlaveMode = TIM_MASTERSLAVEMODE_DISABLE;
  if (HAL_TIMEx_MasterConfigSynchronization(&htim3, &sMasterConfig) != HAL_OK)
  {
    Error_Handler();
  }

  sConfigOC.OCMode = TIM_OCMODE_PWM1;
  sConfigOC.Pulse = 0;
  sConfigOC.OCPolarity = TIM_OCPOLARITY_HIGH;
  sConfigOC.OCFastMode = TIM_OCFAST_DISABLE;
  if (HAL_TIM_PWM_ConfigChannel(&htim3, &sConfigOC, TIM_CHANNEL_1) != HAL_OK)
  {
    Error_Handler();
  }

  if (HAL_TIM_PWM_ConfigChannel(&htim3, &sConfigOC, TIM_CHANNEL_2) != HAL_OK)
  {
    Error_Handler();
  }

  HAL_TIM_MspPostInit(&htim3);

}

/* TIM4 init function */
static void MX_TIM4_Init(void)
{

  TIM_MasterConfigTypeDef sMasterConfig;
  TIM_OC_InitTypeDef sConfigOC;

  htim4.Instance = TIM4;
  htim4.Init.Prescaler = 0;
  htim4.Init.CounterMode = TIM_COUNTERMODE_UP;
  htim4.Init.Period = 65535;
  htim4.Init.ClockDivision = TIM_CLOCKDIVISION_DIV1;
  if (HAL_TIM_PWM_Init(&htim4) != HAL_OK)
  {
    Error_Handler();
  }

  sMasterConfig.MasterOutputTrigger = TIM_TRGO_RESET;
  sMasterConfig.MasterSlaveMode = TIM_MASTERSLAVEMODE_DISABLE;
  if (HAL_TIMEx_MasterConfigSynchronization(&htim4, &sMasterConfig) != HAL_OK)
  {
    Error_Handler();
  }

  sConfigOC.OCMode = TIM_OCMODE_PWM1;
  sConfigOC.Pulse = 0;
  sConfigOC.OCPolarity = TIM_OCPOLARITY_HIGH;
  sConfigOC.OCFastMode = TIM_OCFAST_DISABLE;
  if (HAL_TIM_PWM_ConfigChannel(&htim4, &sConfigOC, TIM_CHANNEL_1) != HAL_OK)
  {
    Error_Handler();
  }

  if (HAL_TIM_PWM_ConfigChannel(&htim4, &sConfigOC, TIM_CHANNEL_2) != HAL_OK)
  {
    Error_Handler();
  }

  if (HAL_TIM_PWM_ConfigChannel(&htim4, &sConfigOC, TIM_CHANNEL_3) != HAL_OK)
  {
    Error_Handler();
  }

  if (HAL_TIM_PWM_ConfigChannel(&htim4, &sConfigOC, TIM_CHANNEL_4) != HAL_OK)
  {
    Error_Handler();
  }

  HAL_TIM_MspPostInit(&htim4);

}

/* TIM8 init function */
static void MX_TIM8_Init(void)
{

  TIM_MasterConfigTypeDef sMasterConfig;
  TIM_OC_InitTypeDef sConfigOC;
  TIM_BreakDeadTimeConfigTypeDef sBreakDeadTimeConfig;

  htim8.Instance = TIM8;
  htim8.Init.Prescaler = 0;
  htim8.Init.CounterMode = TIM_COUNTERMODE_UP;
  htim8.Init.Period = 1500;
  htim8.Init.ClockDivision = TIM_CLOCKDIVISION_DIV1;
  htim8.Init.RepetitionCounter = 0;
  if (HAL_TIM_PWM_Init(&htim8) != HAL_OK)
  {
    Error_Handler();
  }

  sMasterConfig.MasterOutputTrigger = TIM_TRGO_RESET;
  sMasterConfig.MasterSlaveMode = TIM_MASTERSLAVEMODE_DISABLE;
  if (HAL_TIMEx_MasterConfigSynchronization(&htim8, &sMasterConfig) != HAL_OK)
  {
    Error_Handler();
  }

  sConfigOC.OCMode = TIM_OCMODE_PWM1;
  sConfigOC.Pulse = 0;
  sConfigOC.OCPolarity = TIM_OCPOLARITY_LOW;
  sConfigOC.OCNPolarity = TIM_OCNPOLARITY_LOW;
  sConfigOC.OCFastMode = TIM_OCFAST_DISABLE;
  sConfigOC.OCIdleState = TIM_OCIDLESTATE_RESET;
  sConfigOC.OCNIdleState = TIM_OCNIDLESTATE_RESET;
  if (HAL_TIM_PWM_ConfigChannel(&htim8, &sConfigOC, TIM_CHANNEL_1) != HAL_OK)
  {
    Error_Handler();
  }

  sBreakDeadTimeConfig.OffStateRunMode = TIM_OSSR_DISABLE;
  sBreakDeadTimeConfig.OffStateIDLEMode = TIM_OSSI_DISABLE;
  sBreakDeadTimeConfig.LockLevel = TIM_LOCKLEVEL_OFF;
  sBreakDeadTimeConfig.DeadTime = 16;
  sBreakDeadTimeConfig.BreakState = TIM_BREAK_ENABLE;
  sBreakDeadTimeConfig.BreakPolarity = TIM_BREAKPOLARITY_HIGH;
  sBreakDeadTimeConfig.AutomaticOutput = TIM_AUTOMATICOUTPUT_ENABLE;
  if (HAL_TIMEx_ConfigBreakDeadTime(&htim8, &sBreakDeadTimeConfig) != HAL_OK)
  {
    Error_Handler();
  }

  HAL_TIM_MspPostInit(&htim8);

}

/* TIM14 init function */
static void MX_TIM14_Init(void)
{

  htim14.Instance = TIM14;
  htim14.Init.Prescaler = 83;
  htim14.Init.CounterMode = TIM_COUNTERMODE_UP;
  htim14.Init.Period = 65535;
  htim14.Init.ClockDivision = TIM_CLOCKDIVISION_DIV1;
  if (HAL_TIM_Base_Init(&htim14) != HAL_OK)
  {
    Error_Handler();
  }

}

/* USART1 init function */
static void MX_USART1_UART_Init(void)
{

  huart1.Instance = USART1;
  huart1.Init.BaudRate = 56000;
  huart1.Init.WordLength = UART_WORDLENGTH_8B;
  huart1.Init.StopBits = UART_STOPBITS_1;
  huart1.Init.Parity = UART_PARITY_NONE;
  huart1.Init.Mode = UART_MODE_TX_RX;
  huart1.Init.HwFlowCtl = UART_HWCONTROL_NONE;
  huart1.Init.OverSampling = UART_OVERSAMPLING_16;
  if (HAL_UART_Init(&huart1) != HAL_OK)
  {
    Error_Handler();
  }

}

/* USART2 init function */
static void MX_USART2_UART_Init(void)
{

  huart2.Instance = USART2;
  huart2.Init.BaudRate = 31250;
  huart2.Init.WordLength = UART_WORDLENGTH_8B;
  huart2.Init.StopBits = UART_STOPBITS_1;
  huart2.Init.Parity = UART_PARITY_NONE;
  huart2.Init.Mode = UART_MODE_TX_RX;
  huart2.Init.HwFlowCtl = UART_HWCONTROL_NONE;
  huart2.Init.OverSampling = UART_OVERSAMPLING_16;
  if (HAL_UART_Init(&huart2) != HAL_OK)
  {
    Error_Handler();
  }

}

static void MX_DMA_Init(void)
{
  /* DMA controller clock enable */
  __HAL_RCC_DMA1_CLK_ENABLE();
  __HAL_RCC_DMA2_CLK_ENABLE();

  /* DMA interrupt init */
  /* DMA1_Stream5_IRQn interrupt configuration */
  HAL_NVIC_SetPriority(DMA1_Stream5_IRQn, 3, 0);
  HAL_NVIC_EnableIRQ(DMA1_Stream5_IRQn);
  /* DMA1_Stream6_IRQn interrupt configuration */
  HAL_NVIC_SetPriority(DMA1_Stream6_IRQn, 5, 0);
  HAL_NVIC_EnableIRQ(DMA1_Stream6_IRQn);
  /* DMA1_Stream7_IRQn interrupt configuration */
  HAL_NVIC_SetPriority(DMA1_Stream7_IRQn, 1, 0);
  HAL_NVIC_EnableIRQ(DMA1_Stream7_IRQn);
  /* DMA2_Stream2_IRQn interrupt configuration */
  HAL_NVIC_SetPriority(DMA2_Stream2_IRQn, 4, 0);
  HAL_NVIC_EnableIRQ(DMA2_Stream2_IRQn);
  /* DMA2_Stream7_IRQn interrupt configuration */
  HAL_NVIC_SetPriority(DMA2_Stream7_IRQn, 6, 0);
  HAL_NVIC_EnableIRQ(DMA2_Stream7_IRQn);

}

/** Configure pins as
        * Analog
        * Input
        * Output
        * EVENT_OUT
        * EXTI
     PA1   ------> S_TIM5_CH2
     PA5   ------> COMP_DAC2_group
     PB13   ------> SPI2_SCK
     PB14   ------> SPI2_MISO
     PB15   ------> SPI2_MOSI
     PA11   ------> USB_OTG_FS_DM
     PA12   ------> USB_OTG_FS_DP
*/
static void MX_GPIO_Init(void)
{

  GPIO_InitTypeDef GPIO_InitStruct;

  /* GPIO Ports Clock Enable */
  __HAL_RCC_GPIOE_CLK_ENABLE();
  __HAL_RCC_GPIOC_CLK_ENABLE();
  __HAL_RCC_GPIOH_CLK_ENABLE();
  __HAL_RCC_GPIOA_CLK_ENABLE();
  __HAL_RCC_GPIOB_CLK_ENABLE();
  __HAL_RCC_GPIOD_CLK_ENABLE();

  /*Configure GPIO pin Output Level */
  HAL_GPIO_WritePin(GPIOE, GPIO_7SC_Pin|GPIO_7SD_Pin|GPIO_7SE_Pin|GPIO_7SF_Pin
                          |GPIO_7SG_Pin|GPIO_7SA_Pin|GPIO_7SB_Pin, GPIO_PIN_RESET);

  /*Configure GPIO pin Output Level */
  HAL_GPIO_WritePin(GPIOD, GPIO_LED4_Pin|GPIO_LED3_Pin|GPIO_LED2_Pin|GPIO_LED1_Pin
                          |GPIO_PIN_4, GPIO_PIN_RESET);

  /*Configure GPIO pin Output Level */
  HAL_GPIO_WritePin(GPIO_LED_MIDI_GPIO_Port, GPIO_LED_MIDI_Pin, GPIO_PIN_RESET);

  /*Configure GPIO pin Output Level */
  HAL_GPIO_WritePin(GPIOB, GPIO_7SDIGIT2_Pin|GPIO_7SDIGIT1_Pin, GPIO_PIN_RESET);

  /*Configure GPIO pins : GPIO_7SC_Pin GPIO_7SD_Pin GPIO_7SE_Pin GPIO_7SF_Pin
                           GPIO_7SG_Pin GPIO_7SA_Pin GPIO_7SB_Pin */
  GPIO_InitStruct.Pin = GPIO_7SC_Pin|GPIO_7SD_Pin|GPIO_7SE_Pin|GPIO_7SF_Pin
                          |GPIO_7SG_Pin|GPIO_7SA_Pin|GPIO_7SB_Pin;
  GPIO_InitStruct.Mode = GPIO_MODE_OUTPUT_PP;
  GPIO_InitStruct.Pull = GPIO_NOPULL;
  GPIO_InitStruct.Speed = GPIO_SPEED_FREQ_MEDIUM;
  HAL_GPIO_Init(GPIOE, &GPIO_InitStruct);

  /*Configure GPIO pins : PC13 PC14 PC15 */
  GPIO_InitStruct.Pin = GPIO_PIN_13|GPIO_PIN_14|GPIO_PIN_15;
  GPIO_InitStruct.Mode = GPIO_MODE_INPUT;
  GPIO_InitStruct.Pull = GPIO_PULLUP;
  HAL_GPIO_Init(GPIOC, &GPIO_InitStruct);

  /*Configure GPIO pin : User_BTN_Pin */
  GPIO_InitStruct.Pin = User_BTN_Pin;
  GPIO_InitStruct.Mode = GPIO_MODE_INPUT;
  GPIO_InitStruct.Pull = GPIO_NOPULL;
  HAL_GPIO_Init(User_BTN_GPIO_Port, &GPIO_InitStruct);

  /*Configure GPIO pin : PA1 */
  GPIO_InitStruct.Pin = GPIO_PIN_1;
  GPIO_InitStruct.Mode = GPIO_MODE_AF_PP;
  GPIO_InitStruct.Pull = GPIO_PULLUP;
  GPIO_InitStruct.Speed = GPIO_SPEED_FREQ_LOW;
  GPIO_InitStruct.Alternate = GPIO_AF2_TIM5;
  HAL_GPIO_Init(GPIOA, &GPIO_InitStruct);

  /*Configure GPIO pin : PA5 */
  GPIO_InitStruct.Pin = GPIO_PIN_5;
  GPIO_InitStruct.Mode = GPIO_MODE_ANALOG;
  GPIO_InitStruct.Pull = GPIO_NOPULL;
  HAL_GPIO_Init(GPIOA, &GPIO_InitStruct);

  /*Configure GPIO pin : BOOT1_Pin */
  GPIO_InitStruct.Pin = BOOT1_Pin;
  GPIO_InitStruct.Mode = GPIO_MODE_INPUT;
  GPIO_InitStruct.Pull = GPIO_NOPULL;
  HAL_GPIO_Init(BOOT1_GPIO_Port, &GPIO_InitStruct);

  /*Configure GPIO pins : PB13 PB14 PB15 */
  GPIO_InitStruct.Pin = GPIO_PIN_13|GPIO_PIN_14|GPIO_PIN_15;
  GPIO_InitStruct.Mode = GPIO_MODE_AF_PP;
  GPIO_InitStruct.Pull = GPIO_NOPULL;
  GPIO_InitStruct.Speed = GPIO_SPEED_FREQ_VERY_HIGH;
  GPIO_InitStruct.Alternate = GPIO_AF5_SPI2;
  HAL_GPIO_Init(GPIOB, &GPIO_InitStruct);

  /*Configure GPIO pins : GPIO_LED4_Pin GPIO_LED3_Pin GPIO_LED2_Pin GPIO_LED1_Pin */
  GPIO_InitStruct.Pin = GPIO_LED4_Pin|GPIO_LED3_Pin|GPIO_LED2_Pin|GPIO_LED1_Pin;
  GPIO_InitStruct.Mode = GPIO_MODE_OUTPUT_PP;
  GPIO_InitStruct.Pull = GPIO_NOPULL;
  GPIO_InitStruct.Speed = GPIO_SPEED_FREQ_LOW;
  HAL_GPIO_Init(GPIOD, &GPIO_InitStruct);

  /*Configure GPIO pin : GPIO_LED_MIDI_Pin */
  GPIO_InitStruct.Pin = GPIO_LED_MIDI_Pin;
  GPIO_InitStruct.Mode = GPIO_MODE_OUTPUT_PP;
  GPIO_InitStruct.Pull = GPIO_NOPULL;
  GPIO_InitStruct.Speed = GPIO_SPEED_FREQ_LOW;
  HAL_GPIO_Init(GPIO_LED_MIDI_GPIO_Port, &GPIO_InitStruct);

  /*Configure GPIO pins : PA11 PA12 */
  GPIO_InitStruct.Pin = GPIO_PIN_11|GPIO_PIN_12;
  GPIO_InitStruct.Mode = GPIO_MODE_AF_PP;
  GPIO_InitStruct.Pull = GPIO_NOPULL;
  GPIO_InitStruct.Speed = GPIO_SPEED_FREQ_VERY_HIGH;
  GPIO_InitStruct.Alternate = GPIO_AF10_OTG_FS;
  HAL_GPIO_Init(GPIOA, &GPIO_InitStruct);

  /*Configure GPIO pin : PD4 */
  GPIO_InitStruct.Pin = GPIO_PIN_4;
  GPIO_InitStruct.Mode = GPIO_MODE_OUTPUT_PP;
  GPIO_InitStruct.Pull = GPIO_NOPULL;
  GPIO_InitStruct.Speed = GPIO_SPEED_FREQ_MEDIUM;
  HAL_GPIO_Init(GPIOD, &GPIO_InitStruct);

  /*Configure GPIO pins : GPIO_7SDIGIT2_Pin GPIO_7SDIGIT1_Pin */
  GPIO_InitStruct.Pin = GPIO_7SDIGIT2_Pin|GPIO_7SDIGIT1_Pin;
  GPIO_InitStruct.Mode = GPIO_MODE_OUTPUT_PP;
  GPIO_InitStruct.Pull = GPIO_NOPULL;
  GPIO_InitStruct.Speed = GPIO_SPEED_FREQ_MEDIUM;
  HAL_GPIO_Init(GPIOB, &GPIO_InitStruct);

}

/* USER CODE BEGIN 4 */
void HAL_I2S_TxHalfCpltCallback(I2S_HandleTypeDef *hi2s)
{
  //if(hi2s3->Instance==I2S3)
  //{
      Engine_FillBuf(0); //пока передается вторая половина буффера, заполняем первую
  //}
}

void HAL_I2S_TxCpltCallback(I2S_HandleTypeDef *hi2s)
{
  //if(&hi2s3->Instance==I2S3)
  //{
      Engine_FillBuf(1); //пока передается первая половина буффера, считаем вторую
  //}
}
/* USER CODE END 4 */

void Error_Handler(void)
{
  while(1)
  {
  }
}

/************************ (C) COPYRIGHT STMicroelectronics *****END OF FILE****/
